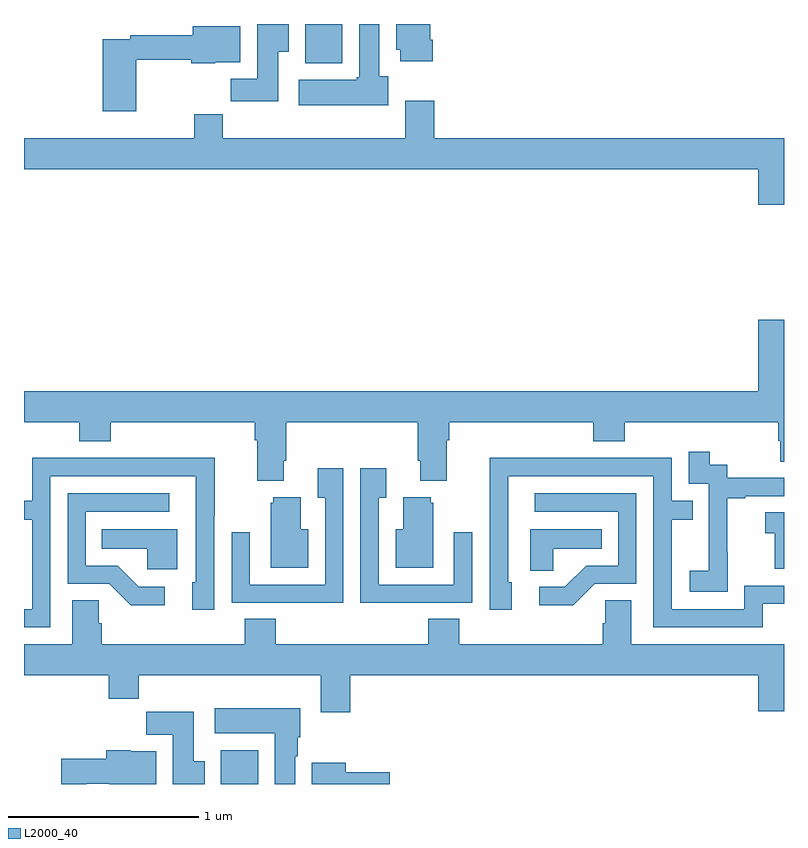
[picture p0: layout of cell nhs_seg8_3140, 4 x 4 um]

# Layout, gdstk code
import gdstk
lib = gdstk.Library(unit=1e-6, precision=1e-09)
def R(c, l, rs):  # rectangles x0, y0, x1, y1
    for r in rs: c.add(gdstk.rectangle(r[:2], r[2:], *l))
def P(c, l, *ps):  # polygons
    for p in ps: c.add(gdstk.Polygon(p, *l))
L2000_40 = (2000, 40)

nhs_seg8_3140 = lib.new_cell('nhs_seg8_3140')
R(nhs_seg8_3140, L2000_40, [(306.035,1143.9,306.232,1144.078), (306.479,1147.694,306.676,1147.9)])
P(nhs_seg8_3140, L2000_40, [(306.337,1147.753),(306.394,1147.753),(306.394,1147.9),(306.227,1147.9),(306.227,1147.612),(306.088,1147.612),(306.088,1147.494),(306.337,1147.494)],
  [(306.916,1147.626),(306.871,1147.626),(306.871,1147.9),(306.764,1147.9),(306.764,1147.62),(306.751,1147.62),(306.751,1147.606),(306.447,1147.606),(306.447,1147.472),(306.916,1147.472)],
  [(307.151,1147.816),(307.138,1147.816),(307.138,1147.9),(306.959,1147.9),(306.959,1147.764),(306.98,1147.764),(306.98,1147.704),(307.151,1147.704)],
  [(305.592,1147.713),(305.881,1147.713),(305.881,1147.694),(306.006,1147.694),(306.006,1147.7),(306.139,1147.7),(306.139,1147.888),(305.888,1147.888),(305.888,1147.841),(305.56,1147.841),(305.56,1147.821),(305.414,1147.821),(305.414,1147.44),(305.592,1147.44)],
  [(309,1147.3),(307.16,1147.3),(307.16,1147.495),(307.007,1147.495),(307.007,1147.3),(306.047,1147.3),(306.047,1147.424),(305.896,1147.424),(305.896,1147.3),(305,1147.3),(305,1147.136),(308.864,1147.136),(308.864,1146.948),(309,1146.948)],
  [(306.367,1145.602),(306.38,1145.602),(306.38,1145.804),(307.073,1145.804),(307.073,1145.602),(307.085,1145.602),(307.085,1145.495),(307.225,1145.495),(307.225,1145.708),(307.238,1145.708),(307.238,1145.804),(307.997,1145.804),(307.997,1145.705),(308.162,1145.705),(308.162,1145.804),(308.969,1145.804),(308.969,1145.706),(308.981,1145.706),(308.981,1145.596),(309,1145.596),(309,1146.343),(308.864,1146.343),(308.864,1145.968),(305,1145.968),(305,1145.804),(305.291,1145.804),(305.291,1145.705),(305.456,1145.705),(305.456,1145.804),(306.215,1145.804),(306.215,1145.708),(306.227,1145.708),(306.227,1145.495),(306.367,1145.495)],
  [(308.703,1145.119),(308.702,1145.119),(308.702,1145.403),(308.797,1145.403),(308.797,1145.415),(309,1145.415),(309,1145.511),(308.7,1145.511),(308.7,1145.58),(308.608,1145.58),(308.608,1145.65),(308.499,1145.65),(308.499,1145.481),(308.604,1145.481),(308.604,1145.252),(308.603,1145.252),(308.603,1145.023),(308.505,1145.023),(308.505,1144.913),(308.703,1144.913)],
  [(308.887,1144.848),(309,1144.848),(309,1144.944),(308.79,1144.944),(308.79,1144.821),(308.409,1144.821),(308.409,1145.29),(308.519,1145.29),(308.519,1145.391),(308.409,1145.391),(308.409,1145.616),(307.913,1145.616),(307.913,1145.618),(307.45,1145.618),(307.45,1145.311),(307.452,1145.311),(307.452,1144.818),(307.567,1144.818),(307.567,1144.962),(307.548,1144.962),(307.548,1145.52),(308.313,1145.52),(308.313,1144.725),(308.887,1144.725)],
  [(305.139,1145.52),(305.903,1145.52),(305.903,1145.266),(305.904,1145.266),(305.904,1144.962),(305.885,1144.962),(305.885,1144.818),(306,1144.818),(306,1145.311),(306.003,1145.311),(306.003,1145.618),(305.539,1145.618),(305.539,1145.616),(305.043,1145.616),(305.043,1145.391),(305,1145.391),(305,1145.29),(305.043,1145.29),(305.043,1144.821),(305,1144.821),(305,1144.725),(305.139,1144.725)],
  [(307.043,1144.854),(307.359,1144.854),(307.359,1145.224),(307.263,1145.224),(307.263,1144.95),(306.867,1144.95),(306.867,1145.407),(306.907,1145.407),(306.907,1145.563),(306.771,1145.563),(306.771,1144.853),(307.043,1144.853)],
  [(306.681,1145.563),(306.545,1145.563),(306.545,1145.407),(306.585,1145.407),(306.585,1144.95),(306.189,1144.95),(306.189,1145.224),(306.093,1145.224),(306.093,1144.854),(306.409,1144.854),(306.409,1144.853),(306.681,1144.853)],
  [(308.004,1144.953),(308.223,1144.953),(308.223,1145.43),(307.689,1145.43),(307.689,1145.334),(308.127,1145.334),(308.127,1145.049),(307.958,1145.049),(307.847,1144.938),(307.713,1144.938),(307.713,1144.841),(307.891,1144.841)],
  [(305.74,1144.938),(305.605,1144.938),(305.494,1145.049),(305.325,1145.049),(305.325,1145.334),(305.764,1145.334),(305.764,1145.43),(305.229,1145.43),(305.229,1144.953),(305.448,1144.953),(305.561,1144.841),(305.74,1144.841)],
  [(306.496,1145.242),(306.457,1145.242),(306.457,1145.41),(306.311,1145.41),(306.311,1145.379),(306.299,1145.379),(306.299,1145.039),(306.496,1145.039)],
  [(307.153,1145.379),(307.142,1145.379),(307.142,1145.41),(306.995,1145.41),(306.995,1145.242),(306.956,1145.242),(306.956,1145.039),(307.153,1145.039)],
  [(309,1145.329),(308.901,1145.329),(308.901,1145.219),(308.95,1145.219),(308.95,1145.034),(309,1145.034)],
  [(305.806,1145.242),(305.41,1145.242),(305.41,1145.138),(305.649,1145.138),(305.649,1145.03),(305.806,1145.03)],
  [(307.785,1145.138),(308.042,1145.138),(308.042,1145.242),(307.664,1145.242),(307.664,1145.023),(307.785,1145.023)],
  [(306.716,1144.472),(308.864,1144.472),(308.864,1144.284),(309,1144.284),(309,1144.636),(308.197,1144.636),(308.197,1144.868),(308.058,1144.868),(308.058,1144.745),(308.045,1144.745),(308.045,1144.636),(307.292,1144.636),(307.292,1144.769),(307.127,1144.769),(307.127,1144.636),(306.326,1144.636),(306.326,1144.769),(306.161,1144.769),(306.161,1144.636),(305.408,1144.636),(305.408,1144.745),(305.394,1144.745),(305.394,1144.868),(305.255,1144.868),(305.255,1144.636),(305,1144.636),(305,1144.472),(305.447,1144.472),(305.447,1144.348),(305.603,1144.348),(305.603,1144.472),(306.563,1144.472),(306.563,1144.278),(306.716,1144.278)],
  [(306.427,1144.046),(306.442,1144.046),(306.442,1144.146),(306.454,1144.146),(306.454,1144.3),(306.003,1144.3),(306.003,1144.166),(306.32,1144.166),(306.32,1143.9),(306.427,1143.9)],
  [(305.95,1144.02),(305.893,1144.02),(305.893,1144.279),(305.644,1144.279),(305.644,1144.16),(305.783,1144.16),(305.783,1143.9),(305.95,1143.9)],
  [(305.328,1143.902),(305.448,1143.902),(305.448,1143.9),(305.695,1143.9),(305.695,1144.072),(305.562,1144.072),(305.562,1144.078),(305.432,1144.078),(305.432,1144.032),(305.196,1144.032),(305.196,1143.9),(305.328,1143.9)],
  [(306.925,1143.962),(306.694,1143.962),(306.694,1144.012),(306.515,1144.012),(306.515,1143.9),(306.925,1143.9)])

lib.write_gds('nhs_seg8_3140.gds')
